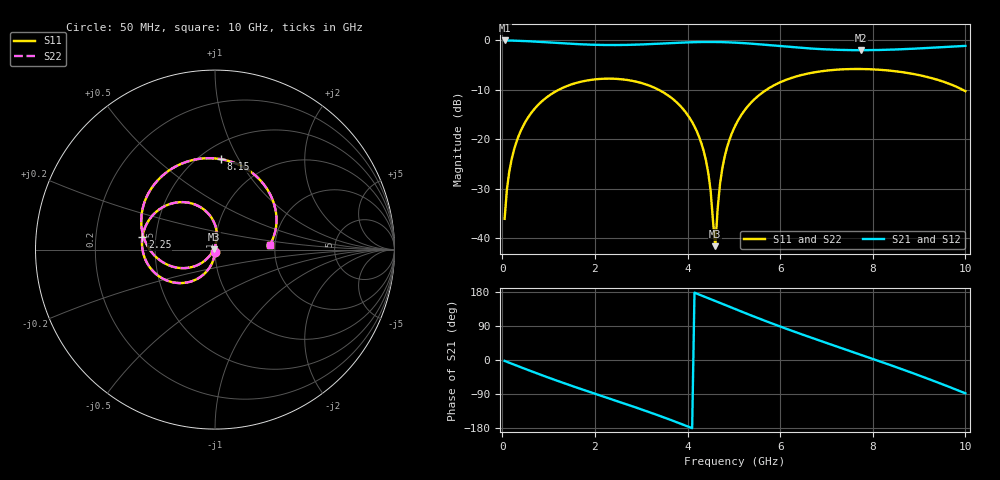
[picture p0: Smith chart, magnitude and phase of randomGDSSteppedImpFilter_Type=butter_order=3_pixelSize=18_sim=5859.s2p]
! freq	dB(S11)	phase(S11)	dB(S12)	phase(S12)
!  dB(S21)	phase(S21)	dB(S22)	phase(S22)
!S-par simulation data
#  GHz  S  DB  R 50
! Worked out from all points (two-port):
!   200 points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, 50 MHz to 10 GHz, reference 50 ohm
!   highest |S21| = 0.00 dB at 50 MHz (marker M1); lowest = -2.0 dB at 7.75 GHz (marker M2)
!   |S21| within 3 dB of the highest: start of sweep to end of sweep
!   lowest |S11| = -41.7 dB at 4.6 GHz (marker M3), VSWR 1.02, Z = 49.2 + j0.112 ohm
!   |S11| at or under -10 dB: start of sweep to 1.216 GHz; 3.38 GHz to 5.702 GHz (2.323 GHz wide, 51.2 % of centre); 9.945 GHz to end of sweep
!   |S22| runs from -41.6 to -5.8 dB; largest |S21 - S12| = 0
!   S11 on the Smith chart (normalised r, x): 50 MHz: 1.00, -0.03; 2.25 GHz: 0.42, +0.07; 8.15 GHz: 0.63, +0.85; 10 GHz: 1.87, +0.11
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0.05  -36.13 -92.4  -0.00 -2.4  -0.00 -2.4  -36.13 -92.4
0.1  -30.12 -95.0  -0.01 -4.8  -0.01 -4.8  -30.12 -95.0
0.2  -24.15 -99.9  -0.03 -9.6  -0.03 -9.6  -24.15 -99.9
0.5  -16.46 -114.3  -0.13 -23.8  -0.13 -23.8  -16.46 -114.3
1.1  -10.61 -141.6  -0.46 -51.0  -0.46 -51.0  -10.61 -141.6
1.75  -8.25 -169.3  -0.80 -78.7  -0.80 -78.7  -8.25 -169.3
2.25  -7.74 170.3  -0.92 -99.2  -0.92 -99.2  -7.74 170.3
3.4  -10.10 122.4  -0.65 -147.5  -0.65 -147.5  -10.10 122.4
3.9  -13.85 100.3  -0.43 -170.4  -0.43 -170.4  -13.85 100.4
4.25  -19.53 85.4  -0.32 172.8  -0.32 172.8  -19.53 85.5
4.45  -26.95 80.7  -0.30 163.0  -0.30 163.0  -26.95 80.9
4.6  -41.66 172.1  -0.31 155.6  -0.31 155.6  -41.55 171.9
4.65  -34.13 -139.0  -0.32 153.1  -0.32 153.1  -34.11 -139.4
4.75  -25.95 -130.6  -0.34 148.2  -0.34 148.2  -25.95 -130.7
5.05  -16.90 -140.2  -0.45 133.4  -0.45 133.4  -16.90 -140.2
5.8  -9.43 -174.2  -0.98 97.5  -0.98 97.5  -9.43 -174.1
6.7  -6.52 146.7  -1.66 57.7  -1.66 57.7  -6.52 146.7
7.75  -5.78 103.0  -1.97 13.6  -1.97 13.6  -5.78 103.0
8.15  -5.94 86.2  -1.93 -3.4  -1.93 -3.4  -5.94 86.2
8.35  -6.10 77.7  -1.88 -12.0  -1.88 -12.0  -6.10 77.8
9.15  -7.34 43.0  -1.54 -47.6  -1.54 -47.6  -7.34 43.0
10  -10.27 5.0  -1.10 -87.9  -1.10 -87.9  -10.27 5.0
